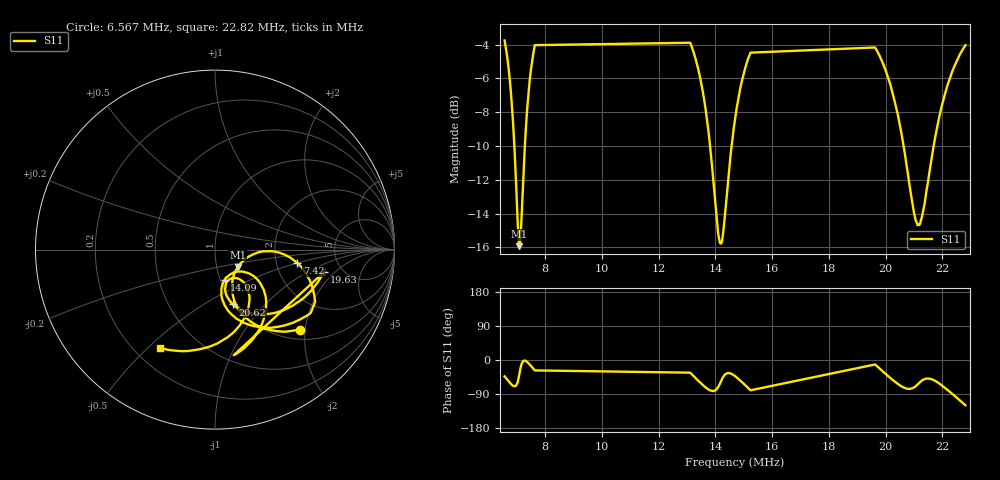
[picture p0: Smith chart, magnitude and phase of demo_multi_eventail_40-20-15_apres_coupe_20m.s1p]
! Dipole eventail apres coupe des brins 20 m (les autres bandes bougent un peu)
! Fichier de demonstration simule - Analyseur ROS NanoVNA F4CVQ
# HZ S RI R 50
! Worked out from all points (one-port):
!   303 points, 6.567 MHz to 22.82 MHz, reference 50 ohm
!   lowest |S11| = -15.9 dB at 7.089 MHz (marker M1), VSWR 1.38, Z = 63.2 - j12.5 ohm
!   |S11| at or under -10 dB: 6.911 MHz to 7.281 MHz (370 kHz wide, 5.21 % of centre); 13.81 MHz to 14.57 MHz (759.8 kHz wide, 5.35 % of centre); 20.64 MHz to 21.7 MHz (1.061 MHz wide, 5.01 % of centre)
!   S11 on the Smith chart (normalised r, x): 6.567 MHz: 1.21, -1.87; 7.42 MHz: 2.62, -0.49; 14.09 MHz: 1.05, -0.36; 19.63 MHz: 3.61, -1.48; 20.62 MHz: 0.99, -0.68; 22.82 MHz: 0.30, -0.54
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6567500  0.4726 -0.4456
6727250  0.2754 -0.4409
6865700  0.1383 -0.3439
7089350  0.127 -0.0968
7142600  0.1688 -0.0518
7259750  0.2927 -0.0082
7419500  0.458 -0.074
7632500  0.5583 -0.29
1.311188e7  0.5335 -0.3525
1.33245e7  0.3672 -0.4269
1.353712e7  0.2016 -0.4226
1.381354e7  0.0538 -0.3105
1.408995e7  0.0535 -0.1685
1.423879e7  0.1071 -0.1265
1.447268e7  0.2166 -0.1482
1.470656e7  0.2826 -0.264
1.498298e7  0.2447 -0.4489
1.523812e7  0.1043 -0.5885
1.963312e7  0.6062 -0.1263
2.014252e7  0.3419 -0.3506
2.062009e7  0.1006 -0.3056
2.081111e7  0.0605 -0.2465
2.106581e7  0.0685 -0.1773
2.1225e7  0.0986 -0.1585
2.154338e7  0.1711 -0.1989
2.195726e7  0.1711 -0.3694
2.243482e7  -0.0426 -0.5446
2.281688e7  -0.3085 -0.548
